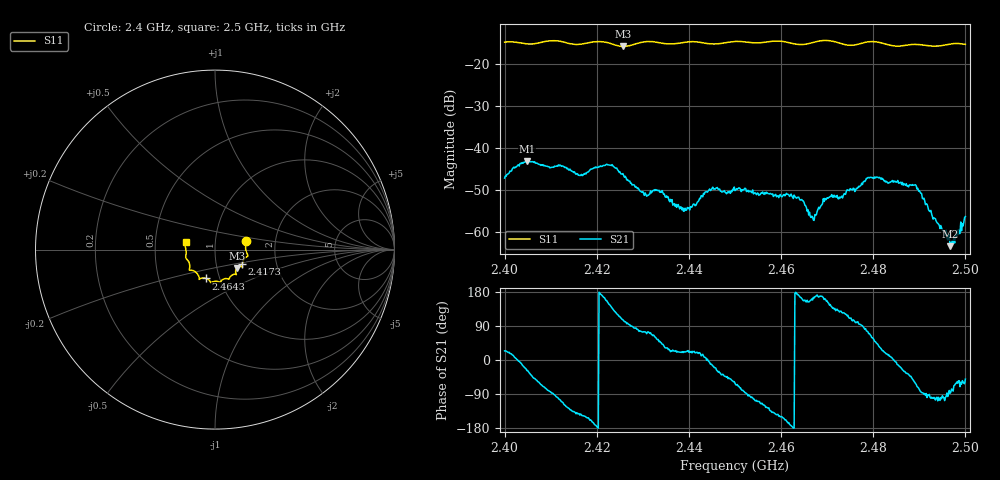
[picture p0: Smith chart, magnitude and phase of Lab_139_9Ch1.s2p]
# Hz S RI R 50
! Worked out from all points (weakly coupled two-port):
!   601 points, 2.4 GHz to 2.5 GHz, reference 50 ohm
!   highest |S21| = -43.09 dB at 2.4048 GHz (marker M1); lowest = -63.3 dB at 2.4967 GHz (marker M2)
!   lowest |S11| = -15.9 dB at 2.4257 GHz (marker M3), VSWR 1.38, Z = 62.5 - j13.1 ohm
!   |S11| at or under -10 dB: start of sweep to end of sweep
!   S12 and S22 are empty: the file has one direction only
!   S11 on the Smith chart (normalised r, x): 2.4 GHz: 1.41, +0.14; 2.4173 GHz: 1.34, -0.23; 2.4643 GHz: 0.86, -0.28; 2.5 GHz: 0.72, +0.06
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2.4e9  0.1733 0.0486  0.00403 0.00179  0 0  0 0
2.404833e9  0.1707 0.0162  0.00619 -0.00327  0 0  0 0
2.412167e9  0.1796 -0.038  -0.00179 -0.00594  0 0  0 0
2.416667e9  0.1531 -0.0747  -0.00398 -0.00281  0 0  0 0
2.417333e9  0.1521 -0.0822  -0.00417 -0.00255  0 0  0 0
2.4225e9  0.1488 -0.0946  -0.00545 0.00319  0 0  0 0
2.425667e9  0.1228 -0.1022  -0.00138 0.00478  0 0  0 0
2.430667e9  0.1186 -0.1383  0.000828 0.00268  0 0  0 0
2.433333e9  0.113 -0.1374  0.00183 0.00255  0 0  0 0
2.439e9  0.08 -0.1596  0.00166 0.000664  0 0  0 0
2.444667e9  0.0583 -0.1612  0.00308 -0.000602  0 0  0 0
2.45e9  0.0289 -0.181  0.0015 -0.00275  0 0  0 0
2.464333e9  -0.0498 -0.1606  -0.00236 0.000643  0 0  0 0
2.466667e9  -0.076 -0.1594  -0.00148 0.000501  0 0  0 0
2.469667e9  -0.0884 -0.1661  -0.00228 0.000845  0 0  0 0
2.472833e9  -0.0907 -0.1486  -0.0016 0.00201  0 0  0 0
2.479e9  -0.1409 -0.1149  0.00156 0.00419  0 0  0 0
2.483333e9  -0.1407 -0.0899  0.00371 0.000945  0 0  0 0
2.489167e9  -0.163 -0.0444  0.00174 -0.00323  0 0  0 0
2.496667e9  -0.1688 0.0248  2.75e-05 -0.000687  0 0  0 0
2.497167e9  -0.1698 0.0281  0.000169 -0.000786  0 0  0 0
2.5e9  -0.1636 0.0423  0.000984 -0.00119  0 0  0 0
